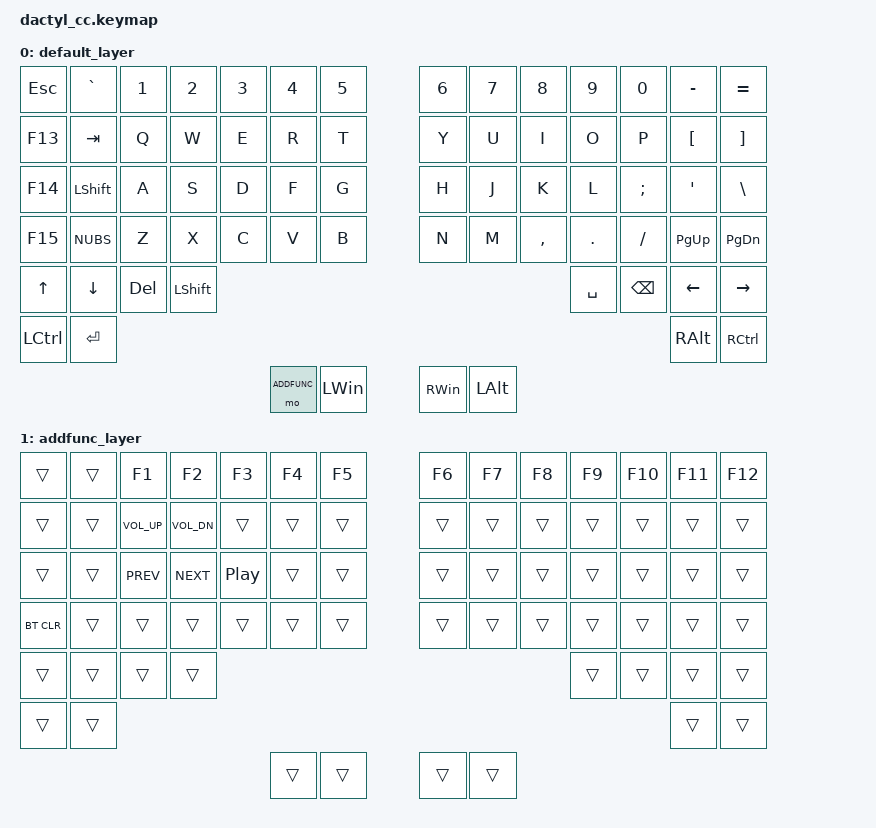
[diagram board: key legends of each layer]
#include <behaviors.dtsi>
#include <dt-bindings/zmk/keys.h>
#include <dt-bindings/zmk/bt.h>
#include <dt-bindings/zmk/outputs.h>

#define DEFAULT 0
#define ADDFUNC 1

#define HYPER(key) LS(LC(LA(LG(key))))
#define MEH(key)   LS(LC(LA(key)))

&sl {
    release-after-ms = <5000>;
};

&kscan0 {
    debounce-press-ms = <30>;
    debounce-release-ms = <30>;
};

/ {
    keymap {
        compatible = "zmk,keymap";

        default_layer {
            bindings = <
&kp ESC &kp GRAVE &kp N1 &kp N2 &kp N3 &kp N4 &kp N5    &kp N6 &kp N7 &kp N8 &kp N9 &kp N0 &kp MINUS &kp EQUAL
&kp F13 &kp TAB &kp Q &kp W &kp E &kp R &kp T             &kp Y &kp U &kp I &kp O &kp P &kp LBKT &kp RBKT
&kp F14 &kp LSHIFT &kp A &kp S &kp D &kp F &kp G          &kp H &kp J &kp K &kp L &kp SEMI &kp APOS &kp BSLH
&kp F15 &kp NUBS &kp Z &kp X &kp C &kp V &kp B       &kp N &kp M &kp COMMA &kp DOT &kp SLASH &kp PAGE_UP &kp PAGE_DOWN
            &kp UP &kp DOWN &kp DEL &kp LSHIFT          &kp SPACE &kp BACKSPACE &kp LEFT &kp RIGHT
                            &kp LCTRL &kp ENTER           &kp RALT &kp RCTRL
                            &mo ADDFUNC &kp LWIN               &kp RWIN &kp LALT
        >;
        };
        addfunc_layer {
            bindings = <
            &trans &trans &kp F1 &kp F2 &kp F3 &kp F4 &kp F5     &kp F6 &kp F7 &kp F8 &kp F9 &kp F10 &kp F11 &kp F12
            &trans &trans &kp C_VOL_UP &kp C_VOL_DN &trans &trans &trans     &trans &trans &trans &trans &trans &trans &trans
            &trans &trans &kp C_PREV &kp C_NEXT &kp C_PP &trans &trans     &trans &trans &trans &trans &trans &trans &trans
            &bt BT_CLR &trans &trans &trans &trans &trans &trans    &trans &trans &trans &trans &trans &trans &trans
                                 &trans &trans &trans &trans     &trans &trans &trans &trans 
                                               &trans &trans     &trans &trans
                                               &trans &trans     &trans &trans
        >;
        };
    };
};
